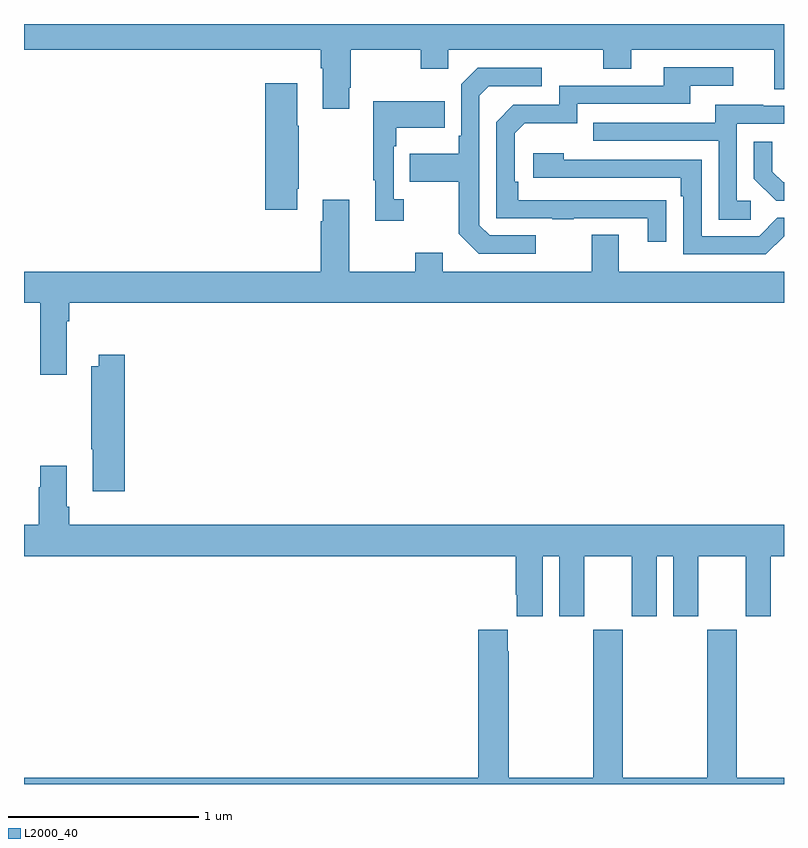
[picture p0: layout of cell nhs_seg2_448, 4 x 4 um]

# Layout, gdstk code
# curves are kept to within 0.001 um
import gdstk
lib = gdstk.Library(unit=1e-6, precision=1e-09)
def P(c, l, *ps):  # polygons
    for p in ps: c.add(gdstk.Polygon(p, *l))
L2000_40 = (2000, 40)

nhs_seg2_448 = lib.new_cell('nhs_seg2_448')
P(nhs_seg2_448, L2000_40, [(134.713,619.465),(134.721,619.465),(134.721,619.664),(135.088,619.664),(135.088,619.565),(135.234,619.565),(135.234,619.664),(136.048,619.664),(136.048,619.565),(136.195,619.565),(136.195,619.664),(136.949,619.664),(136.949,619.456),(137,619.456),(137,619.8),(133,619.8),(133,619.664),(134.561,619.664),(134.561,619.568),(134.573,619.568),(134.573,619.353),(134.713,619.353)],
  [(136.379,618.872),(135.602,618.873),(135.602,618.97),(135.582,618.97),(135.582,619.224),(135.635,619.277),(135.912,619.277),(135.912,619.38),(136.507,619.38),(136.507,619.476),(136.732,619.476),(136.732,619.572),(136.367,619.572),(136.367,619.476),(135.816,619.476),(135.816,619.374),(135.576,619.374),(135.486,619.284),(135.486,618.777),(135.781,618.777),(135.781,618.772),(135.893,618.772),(135.893,618.777),(136.283,618.777),(136.283,618.654),(136.379,618.654)],
  [(135.694,618.687),(135.45,618.687),(135.396,618.741),(135.396,619.422),(135.447,619.473),(135.724,619.473),(135.724,619.569),(135.387,619.569),(135.3,619.482),(135.3,619.213),(135.288,619.213),(135.288,619.117),(135.031,619.117),(135.031,618.97),(135.288,618.97),(135.288,618.697),(135.393,618.591),(135.694,618.591)],
  [(134.437,618.934),(134.445,618.934),(134.445,619.265),(134.437,619.265),(134.437,619.489),(134.27,619.489),(134.27,618.822),(134.437,618.822)],
  [(134.998,618.878),(134.946,618.878),(134.946,619.157),(134.959,619.157),(134.959,619.253),(135.215,619.253),(135.215,619.393),(134.838,619.393),(134.838,618.977),(134.849,618.977),(134.849,618.765),(134.998,618.765)],
  [(136.825,618.87),(136.752,618.87),(136.752,619.275),(137,619.275),(137,619.371),(136.891,619.371),(136.891,619.375),(136.637,619.375),(136.637,619.281),(135.997,619.281),(135.997,619.185),(136.656,619.185),(136.656,618.769),(136.825,618.769)],
  [(137,618.966),(136.996,618.966),(136.939,619.023),(136.939,619.18),(136.842,619.18),(136.842,618.986),(136.958,618.87),(137,618.87)],
  [(137,618.683),(137,618.78),(136.965,618.78),(136.869,618.684),(136.566,618.684),(136.566,619.086),(135.842,619.086),(135.842,619.12),(135.681,619.12),(135.681,618.99),(136.457,618.99),(136.457,618.893),(136.47,618.893),(136.47,618.588),(136.905,618.588)],
  [(133.225,618.236),(133.238,618.236),(133.238,618.332),(137,618.332),(137,618.496),(136.129,618.496),(136.129,618.691),(135.989,618.691),(135.989,618.496),(135.205,618.496),(135.205,618.595),(135.058,618.595),(135.058,618.496),(134.713,618.496),(134.713,618.874),(134.573,618.874),(134.573,618.761),(134.561,618.761),(134.561,618.496),(133,618.496),(133,618.332),(133.085,618.332),(133.085,617.955),(133.225,617.955)],
  [(133.529,618.058),(133.394,618.058),(133.394,617.998),(133.354,617.998),(133.354,617.563),(133.361,617.563),(133.361,617.34),(133.529,617.34)],
  [(135.73,617),(135.818,617),(135.818,616.683),(135.949,616.683),(135.949,617),(136.199,617),(136.199,616.683),(136.33,616.683),(136.33,617),(136.418,617),(136.418,616.683),(136.549,616.683),(136.549,617),(136.799,617),(136.799,616.683),(136.93,616.683),(136.93,617),(137,617),(137,617.164),(133.238,617.164),(133.238,617.26),(133.225,617.26),(133.225,617.476),(133.085,617.476),(133.085,617.363),(133.078,617.363),(133.078,617.164),(133,617.164),(133,617),(135.587,617),(135.587,616.795),(135.593,616.795),(135.593,616.683),(135.73,616.683)],
  [(137,615.832),(136.752,615.832),(136.752,616.612),(136.597,616.612),(136.597,615.832),(136.152,615.832),(136.152,616.612),(135.997,616.612),(135.997,615.832),(135.552,615.832),(135.552,616.499),(135.547,616.499),(135.547,616.612),(135.392,616.612),(135.392,615.832),(133,615.832),(133,615.8),(137,615.8)])

lib.write_gds('nhs_seg2_448.gds')
